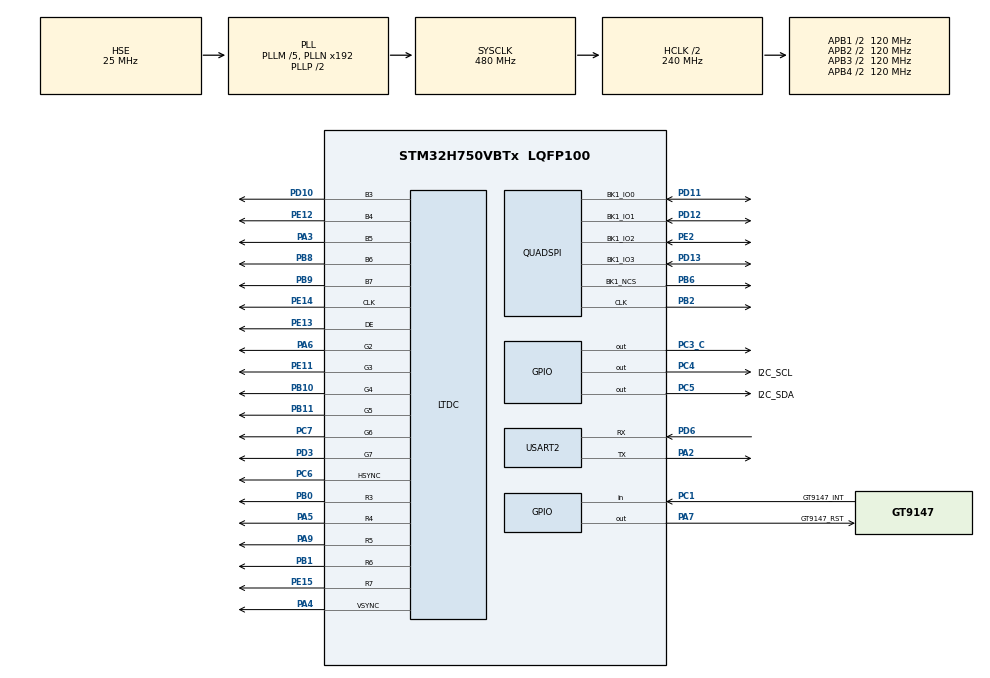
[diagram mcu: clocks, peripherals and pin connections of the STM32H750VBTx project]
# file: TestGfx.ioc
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CORTEX_M7.CPU_DCache=Enabled
CORTEX_M7.CPU_ICache=Enabled
DMA2D.ColorMode=DMA2D_OUTPUT_RGB565
FREERTOS.Tasks01=defaultTask,24,1024,GuiShowTask,Default,NULL,Dynamic,NULL,NULL;myTask02,8,256,UpdateTask,Default,NULL,Dynamic,NULL,NULL;myTask03,8,128,TouchTask,Default,NULL,Dynamic,NULL,NULL
FREERTOS.configENABLE_FPU=1
FREERTOS.configUSE_APPLICATION_TASK_TAG=1
LTDC.ActiveH=272
LTDC.ActiveW=480
LTDC.Alpha_L0=255
LTDC.FBStartAdress_L0=0xc0000000
LTDC.HBP=40
LTDC.HFP=5
LTDC.HSync=1
LTDC.ImageHeight_L0=272
LTDC.ImageWidth_L0=480
LTDC.Layers=0
LTDC.PixelFormat_L0=LTDC_PIXEL_FORMAT_RGB565
LTDC.VBP=8
LTDC.VFP=8
LTDC.VSync=1
LTDC.WindowX1_L0=480
LTDC.WindowY1_L0=272
Mcu.Family=STM32H7
Mcu.Name=STM32H750VBTx
Mcu.Package=LQFP100
NVIC.DMA2D_IRQn=true\:1\:0\:true\:false\:true\:false\:true\:true
NVIC.LTDC_IRQn=true\:1\:0\:true\:false\:true\:false\:true\:true
NVIC.PriorityGroup=NVIC_PRIORITYGROUP_4
NVIC.TIM17_IRQn=true\:0\:0\:false\:false\:true\:false\:false\:true
NVIC.TimeBase=TIM17_IRQn
NVIC.TimeBaseIP=TIM17
NVIC.USART2_IRQn=true\:3\:0\:true\:false\:true\:false\:true\:true
PA13\ (JTMS/SWDIO).Mode=Serial_Wire
PA13\ (JTMS/SWDIO).Signal=DEBUG_JTMS-SWDIO
PA14\ (JTCK/SWCLK).Mode=Serial_Wire
PA14\ (JTCK/SWCLK).Signal=DEBUG_JTCK-SWCLK
PA2.Mode=Asynchronous
PA2.Signal=USART2_TX
PA3.GPIO_Speed=GPIO_SPEED_FREQ_VERY_HIGH
PA3.Mode=RGB565
PA3.Signal=LTDC_B5
PA4.GPIO_Speed=GPIO_SPEED_FREQ_VERY_HIGH
PA4.Mode=RGB565
PA4.Signal=LTDC_VSYNC
PA5.GPIO_Speed=GPIO_SPEED_FREQ_VERY_HIGH
PA5.Mode=RGB565
PA5.Signal=LTDC_R4
PA6.GPIO_Speed=GPIO_SPEED_FREQ_VERY_HIGH
PA6.Mode=RGB565
PA6.Signal=LTDC_G2
PA7.GPIO_Label=GT9147_RST
PA7.GPIO_PuPd=GPIO_PULLUP
PA7.GPIO_Speed=GPIO_SPEED_FREQ_VERY_HIGH
PA7.Signal=GPIO_Output
PA9.GPIO_Speed=GPIO_SPEED_FREQ_VERY_HIGH
PA9.Mode=RGB565
PA9.Signal=LTDC_R5
PB0.GPIO_Speed=GPIO_SPEED_FREQ_VERY_HIGH
PB0.Mode=RGB565
PB0.Signal=LTDC_R3
PB1.GPIO_Speed=GPIO_SPEED_FREQ_VERY_HIGH
PB1.Mode=RGB565
PB1.Signal=LTDC_R6
PB10.GPIO_Speed=GPIO_SPEED_FREQ_VERY_HIGH
PB10.Mode=RGB565
PB10.Signal=LTDC_G4
PB11.GPIO_Speed=GPIO_SPEED_FREQ_VERY_HIGH
PB11.Mode=RGB565
PB11.Signal=LTDC_G5
PB2.GPIO_Speed=GPIO_SPEED_FREQ_VERY_HIGH
PB2.Mode=Single Bank 1
PB2.Signal=QUADSPI_CLK
PB6.GPIO_FM6=SYSCFG_PMCR_I2C_PB6_FMP
PB6.GPIO_Speed=GPIO_SPEED_FREQ_VERY_HIGH
PB6.Mode=Single Bank 1
PB6.Signal=QUADSPI_BK1_NCS
PB8.GPIO_FM8=SYSCFG_PMCR_I2C_PB8_FMP
PB8.GPIO_Speed=GPIO_SPEED_FREQ_VERY_HIGH
PB8.Mode=RGB565
PB8.Signal=LTDC_B6
PB9.GPIO_FM9=SYSCFG_PMCR_I2C_PB9_FMP
PB9.GPIO_Speed=GPIO_SPEED_FREQ_VERY_HIGH
PB9.Mode=RGB565
PB9.Signal=LTDC_B7
PC1.GPIO_Label=GT9147_INT
PC1.Signal=GPIO_Input
PC3_C.GPIO_Speed=GPIO_SPEED_FREQ_VERY_HIGH
PC3_C.PinState=GPIO_PIN_SET
PC3_C.Signal=GPIO_Output
PC4.GPIO_Label=I2C_SCL
PC4.GPIO_Speed=GPIO_SPEED_FREQ_VERY_HIGH
PC4.Signal=GPIO_Output
PC5.GPIO_Label=I2C_SDA
PC5.GPIO_Speed=GPIO_SPEED_FREQ_VERY_HIGH
PC5.Signal=GPIO_Output
PC6.GPIO_Speed=GPIO_SPEED_FREQ_VERY_HIGH
PC6.Mode=RGB565
PC6.Signal=LTDC_HSYNC
PC7.GPIO_Speed=GPIO_SPEED_FREQ_VERY_HIGH
PC7.Mode=RGB565
PC7.Signal=LTDC_G6
PD10.GPIO_Speed=GPIO_SPEED_FREQ_VERY_HIGH
PD10.Mode=RGB565
PD10.Signal=LTDC_B3
PD11.GPIO_Speed=GPIO_SPEED_FREQ_VERY_HIGH
PD11.Mode=Single Bank 1
PD11.Signal=QUADSPI_BK1_IO0
PD12.GPIO_Speed=GPIO_SPEED_FREQ_VERY_HIGH
PD12.Mode=Single Bank 1
PD12.Signal=QUADSPI_BK1_IO1
PD13.GPIO_Speed=GPIO_SPEED_FREQ_VERY_HIGH
PD13.Mode=Single Bank 1
PD13.Signal=QUADSPI_BK1_IO3
PD3.GPIO_Speed=GPIO_SPEED_FREQ_VERY_HIGH
PD3.Mode=RGB565
PD3.Signal=LTDC_G7
PD6.Mode=Asynchronous
PD6.Signal=USART2_RX
PE11.GPIO_Speed=GPIO_SPEED_FREQ_VERY_HIGH
PE11.Mode=RGB565
PE11.Signal=LTDC_G3
PE12.Mode=RGB565
PE12.Signal=LTDC_B4
PE13.Mode=RGB565
PE13.Signal=LTDC_DE
PE14.Mode=RGB565
PE14.Signal=LTDC_CLK
PE15.Mode=RGB565
PE15.Signal=LTDC_R7
PE2.GPIO_Speed=GPIO_SPEED_FREQ_VERY_HIGH
PE2.Mode=Single Bank 1
PE2.Signal=QUADSPI_BK1_IO2
PH0-OSC_IN\ (PH0).Mode=HSE-External-Oscillator
PH0-OSC_IN\ (PH0).Signal=RCC_OSC_IN
PH1-OSC_OUT\ (PH1).Mode=HSE-External-Oscillator
PH1-OSC_OUT\ (PH1).Signal=RCC_OSC_OUT
ProjectManager.HeapSize=0x1000
ProjectManager.StackSize=0x2000
ProjectManager.TargetToolchain=MDK-ARM V5.27
QUADSPI.ChipSelectHighTime=QSPI_CS_HIGH_TIME_5_CYCLE
QUADSPI.ClockPrescaler=3
QUADSPI.FifoThreshold=4
QUADSPI.FlashSize=4
QUADSPI.SampleShifting=QSPI_SAMPLE_SHIFTING_HALFCYCLE
RCC.ADCFreq_Value=50390625
RCC.APB1Freq_Value=120000000
RCC.APB2Freq_Value=120000000
RCC.APB3Freq_Value=120000000
RCC.APB4Freq_Value=120000000
RCC.CortexFreq_Value=480000000
RCC.D1PPRE=RCC_APB3_DIV2
RCC.D2PPRE1=RCC_APB1_DIV2
RCC.D2PPRE2=RCC_APB2_DIV2
RCC.D3PPRE=RCC_APB4_DIV2
RCC.DIVM1=5
RCC.DIVM3=5
RCC.DIVN1=192
RCC.DIVN3=160
RCC.DIVR3=53
RCC.HCLKFreq_Value=240000000
RCC.HPRE=RCC_HCLK_DIV2
RCC.PLLFRACN=0
RCC.PLLSourceVirtual=RCC_PLLSOURCE_HSE
RCC.SYSCLKFreq_VALUE=480000000
RCC.SYSCLKSource=RCC_SYSCLKSOURCE_PLLCLK
RCC.USBFreq_Value=480000000
STMicroelectronics.X-CUBE-TOUCHGFX.4.16.0.ApplicationCcGraphicsJjApplication=TouchGFXOoGenerator
STMicroelectronics.X-CUBE-TOUCHGFX.4.16.0.tgfx_buffering_strategy=Double
STMicroelectronics.X-CUBE-TOUCHGFX.4.16.0.tgfx_custom_height=270
STMicroelectronics.X-CUBE-TOUCHGFX.4.16.0.tgfx_display_interface=disp_ltdc
STMicroelectronics.X-CUBE-TOUCHGFX.4.16.0.tgfx_hardware_accelerator=dma_2d
STMicroelectronics.X-CUBE-TOUCHGFX.4.16.0.tgfx_vsync=vsync_ltdc
USART2.VirtualMode-Asynchronous=VM_ASYNC
VP_CRC_VS_CRC.Mode=CRC_Activate
VP_DMA2D_VS_DMA2D.Mode=DMA2D_Activate
VP_FREERTOS_VS_CMSIS_V2.Mode=CMSIS_V2
VP_STMicroelectronics.X-CUBE-TOUCHGFX_VS_GraphicsJjApplication_4.16.0.Mode=GraphicsJjApplication
VP_SYS_VS_tim17.Mode=TIM17
board=custom

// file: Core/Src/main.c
/* USER CODE BEGIN Header */
/**
  ******************************************************************************
  * @file           : main.c
  * @brief          : Main program body
  ******************************************************************************
  * @attention
  *
  * <h2><center>&copy; Copyright (c) 2020 STMicroelectronics.
  * All rights reserved.</center></h2>
  *
  * This software component is licensed by ST under BSD 3-Clause license,
  * the "License"; You may not use this file except in compliance with the
  * License. You may obtain a copy of the License at:
  *                        opensource.org/licenses/BSD-3-Clause
  *
  ******************************************************************************
  */
/* USER CODE END Header */
#include "main.h"
#include "cmsis_os.h"
#include "crc.h"
#include "dma2d.h"
#include "ltdc.h"
#include "quadspi.h"
#include "usart.h"
#include "gpio.h"
#include "app_touchgfx.h"

/* USER CODE BEGIN Includes */
#include "GT9147.h"
#include "vi2c.h"
/* USER CODE END Includes */

/* USER CODE BEGIN PTD */
uint8_t RecBuff[23],RecBuffFlag=0;
/* USER CODE END PTD */

void SystemClock_Config(void);
void MX_FREERTOS_Init(void);

int main(void)
{
  /* USER CODE BEGIN 1 */
	SCB->VTOR = QSPI_BASE | 0x00000000; /* 程序放在外部QSPI FLASH上 */
		//__enable_irq();
  /* USER CODE END 1 */

  /* Enable I-Cache---------------------------------------------------------*/
  SCB_EnableICache();

  /* Enable D-Cache---------------------------------------------------------*/
  SCB_EnableDCache();

  /* MCU Configuration--------------------------------------------------------*/

  /* Reset of all peripherals, Initializes the Flash interface and the Systick. */
  HAL_Init();

  /* USER CODE BEGIN Init */
	//SCB_EnableDCache()
  /* USER CODE END Init */

  /* Configure the system clock */
  SystemClock_Config();

  /* Initialize all configured peripherals */
  MX_GPIO_Init();
  MX_LTDC_Init();
  MX_CRC_Init();
  MX_DMA2D_Init();
  MX_USART2_UART_Init();
  //MX_QUADSPI_Init();
  MX_TouchGFX_Init();
  /* USER CODE BEGIN 2 */
	HAL_UART_Receive_IT(&huart2,RecBuff,1);
	mcu_vi2c_init();
	gt9147_init();
	//HAL_Delay(2000);
  /* USER CODE END 2 */

  /* Init scheduler */
  osKernelInitialize();  /* Call init function for freertos objects (in freertos.c) */
  MX_FREERTOS_Init();
  /* Start scheduler */
  osKernelStart();

  /* We should never get here as control is now taken by the scheduler */
  /* Infinite loop */
  while (1)
  {

  }
}

void SystemClock_Config(void)
{
  RCC_OscInitTypeDef RCC_OscInitStruct = {0};
  RCC_ClkInitTypeDef RCC_ClkInitStruct = {0};
  RCC_PeriphCLKInitTypeDef PeriphClkInitStruct = {0};

  /** Supply configuration update enable
  */
  HAL_PWREx_ConfigSupply(PWR_LDO_SUPPLY);
  /** Configure the main internal regulator output voltage
  */
  __HAL_PWR_VOLTAGESCALING_CONFIG(PWR_REGULATOR_VOLTAGE_SCALE0);

  while(!__HAL_PWR_GET_FLAG(PWR_FLAG_VOSRDY)) {}
  /** Macro to configure the PLL clock source
  */
  __HAL_RCC_PLL_PLLSOURCE_CONFIG(RCC_PLLSOURCE_HSE);
  /** Initializes the RCC Oscillators according to the specified parameters
  * in the RCC_OscInitTypeDef structure.
  */
  RCC_OscInitStruct.OscillatorType = RCC_OSCILLATORTYPE_HSE;
  RCC_OscInitStruct.HSEState = RCC_HSE_ON;
  RCC_OscInitStruct.PLL.PLLState = RCC_PLL_ON;
  RCC_OscInitStruct.PLL.PLLSource = RCC_PLLSOURCE_HSE;
  RCC_OscInitStruct.PLL.PLLM = 5;
  RCC_OscInitStruct.PLL.PLLN = 192;
  RCC_OscInitStruct.PLL.PLLP = 2;
  RCC_OscInitStruct.PLL.PLLQ = 2;
  RCC_OscInitStruct.PLL.PLLR = 2;
  RCC_OscInitStruct.PLL.PLLRGE = RCC_PLL1VCIRANGE_2;
  RCC_OscInitStruct.PLL.PLLVCOSEL = RCC_PLL1VCOWIDE;
  RCC_OscInitStruct.PLL.PLLFRACN = 0;
  if (HAL_RCC_OscConfig(&RCC_OscInitStruct) != HAL_OK)
  {
    Error_Handler();
  }
  /** Initializes the CPU, AHB and APB buses clocks
  */
  RCC_ClkInitStruct.ClockType = RCC_CLOCKTYPE_HCLK|RCC_CLOCKTYPE_SYSCLK
                              |RCC_CLOCKTYPE_PCLK1|RCC_CLOCKTYPE_PCLK2
                              |RCC_CLOCKTYPE_D3PCLK1|RCC_CLOCKTYPE_D1PCLK1;
  RCC_ClkInitStruct.SYSCLKSource = RCC_SYSCLKSOURCE_PLLCLK;
  RCC_ClkInitStruct.SYSCLKDivider = RCC_SYSCLK_DIV1;
  RCC_ClkInitStruct.AHBCLKDivider = RCC_HCLK_DIV2;
  RCC_ClkInitStruct.APB3CLKDivider = RCC_APB3_DIV2;
  RCC_ClkInitStruct.APB1CLKDivider = RCC_APB1_DIV2;
  RCC_ClkInitStruct.APB2CLKDivider = RCC_APB2_DIV2;
  RCC_ClkInitStruct.APB4CLKDivider = RCC_APB4_DIV2;

  if (HAL_RCC_ClockConfig(&RCC_ClkInitStruct, FLASH_LATENCY_4) != HAL_OK)
  {
    Error_Handler();
  }
  PeriphClkInitStruct.PeriphClockSelection = RCC_PERIPHCLK_LTDC|RCC_PERIPHCLK_USART2
                              |RCC_PERIPHCLK_QSPI;
  PeriphClkInitStruct.PLL3.PLL3M = 5;
  PeriphClkInitStruct.PLL3.PLL3N = 160;
  PeriphClkInitStruct.PLL3.PLL3P = 2;
  PeriphClkInitStruct.PLL3.PLL3Q = 2;
  PeriphClkInitStruct.PLL3.PLL3R = 53;
  PeriphClkInitStruct.PLL3.PLL3RGE = RCC_PLL3VCIRANGE_2;
  PeriphClkInitStruct.PLL3.PLL3VCOSEL = RCC_PLL3VCOWIDE;
  PeriphClkInitStruct.PLL3.PLL3FRACN = 0;
  PeriphClkInitStruct.QspiClockSelection = RCC_QSPICLKSOURCE_D1HCLK;
  PeriphClkInitStruct.Usart234578ClockSelection = RCC_USART234578CLKSOURCE_D2PCLK1;
  if (HAL_RCCEx_PeriphCLKConfig(&PeriphClkInitStruct) != HAL_OK)
  {
    Error_Handler();
  }
}

/* USER CODE BEGIN 4 */
void HAL_UART_RxCpltCallback(UART_HandleTypeDef *huart)
{
	static uint8_t count;
	if(huart==&huart2)
	{
		if(count==0&&RecBuff[count]!=0x01)
		{
			count=0;
		}
		else if(count==1&&RecBuff[count]!=0xff)
		{
			count=0;
		}
		else if(count==2&&RecBuff[count]!=0xff)
		{
			count=0;
		}
		else
		{
			if(count<=22)
			{
				count++;
			}
			else
			{
				count=0;
				RecBuffFlag=1;
			}
		}
		HAL_UART_Receive_IT(&huart2,&RecBuff[count],1);
	}
}
/* USER CODE END 4 */

 /**
  * @brief  Period elapsed callback in non blocking mode
  * @note   This function is called  when TIM17 interrupt took place, inside
  * HAL_TIM_IRQHandler(). It makes a direct call to HAL_IncTick() to increment
  * a global variable "uwTick" used as application time base.
  * @param  htim : TIM handle
  * @retval None
  */
void HAL_TIM_PeriodElapsedCallback(TIM_HandleTypeDef *htim)
{
  if (htim->Instance == TIM17) {
    HAL_IncTick();
  }
}

void Error_Handler(void)
{
}

/************************ (C) COPYRIGHT STMicroelectronics *****END OF FILE****/

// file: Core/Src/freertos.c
/* USER CODE BEGIN Header */
/**
  ******************************************************************************
  * File Name          : freertos.c
  * Description        : Code for freertos applications
  ******************************************************************************
  * @attention
  *
  * <h2><center>&copy; Copyright (c) 2020 STMicroelectronics.
  * All rights reserved.</center></h2>
  *
  * This software component is licensed by ST under Ultimate Liberty license
  * SLA0044, the "License"; You may not use this file except in compliance with
  * the License. You may obtain a copy of the License at:
  *                             www.st.com/SLA0044
  *
  ******************************************************************************
  */
/* USER CODE END Header */

#include "FreeRTOS.h"
#include "task.h"
#include "main.h"
#include "cmsis_os.h"

/* USER CODE BEGIN Includes */
#include "app_touchgfx.h"
#include "GT9147.h"
#include "vi2c.h"
/* USER CODE END Includes */

/* USER CODE BEGIN PTD */
extern uint8_t RecBuff[23];
extern uint8_t RecBuffFlag;
int isTouch;
int TemIn;
/* USER CODE END PTD */

/* Definitions for defaultTask */
osThreadId_t defaultTaskHandle;
const osThreadAttr_t defaultTask_attributes = {
  .name = "defaultTask",
  .priority = (osPriority_t) osPriorityNormal,
  .stack_size = 1024 * 4
};
/* Definitions for myTask02 */
osThreadId_t myTask02Handle;
const osThreadAttr_t myTask02_attributes = {
  .name = "myTask02",
  .priority = (osPriority_t) osPriorityLow,
  .stack_size = 256 * 4
};
/* Definitions for myTask03 */
osThreadId_t myTask03Handle;
const osThreadAttr_t myTask03_attributes = {
  .name = "myTask03",
  .priority = (osPriority_t) osPriorityLow,
  .stack_size = 128 * 4
};

void GuiShowTask(void *argument);
void UpdateTask(void *argument);
void TouchTask(void *argument);

void MX_FREERTOS_Init(void); /* (MISRA C 2004 rule 8.1) */

void MX_FREERTOS_Init(void) {

  /* Create the thread(s) */
  /* creation of defaultTask */
  defaultTaskHandle = osThreadNew(GuiShowTask, NULL, &defaultTask_attributes);

  /* creation of myTask02 */
  myTask02Handle = osThreadNew(UpdateTask, NULL, &myTask02_attributes);

  /* creation of myTask03 */
  myTask03Handle = osThreadNew(TouchTask, NULL, &myTask03_attributes);

}

void GuiShowTask(void *argument)
{
  /* USER CODE BEGIN GuiShowTask */
  /* Infinite loop */
  for(;;)
  {
		MX_TouchGFX_Process();
    osDelay(1);
  }
  /* USER CODE END GuiShowTask */
}

void UpdateTask(void *argument)
{
  /* USER CODE BEGIN UpdateTask */
  /* Infinite loop */
  for(;;)
  {
		if(RecBuffFlag==1)
		{
			TemIn=(RecBuff[22]<<8)+RecBuff[21];
			RecBuffFlag=0;
		}

    osDelay(1);
  }
  /* USER CODE END UpdateTask */
}

void TouchTask(void *argument)
{
  /* USER CODE BEGIN TouchTask */

  /* Infinite loop */
  for(;;)
  {
		gt9147_task();
    osDelay(1);
  }
  /* USER CODE END TouchTask */
}

/************************ (C) COPYRIGHT STMicroelectronics *****END OF FILE****/
